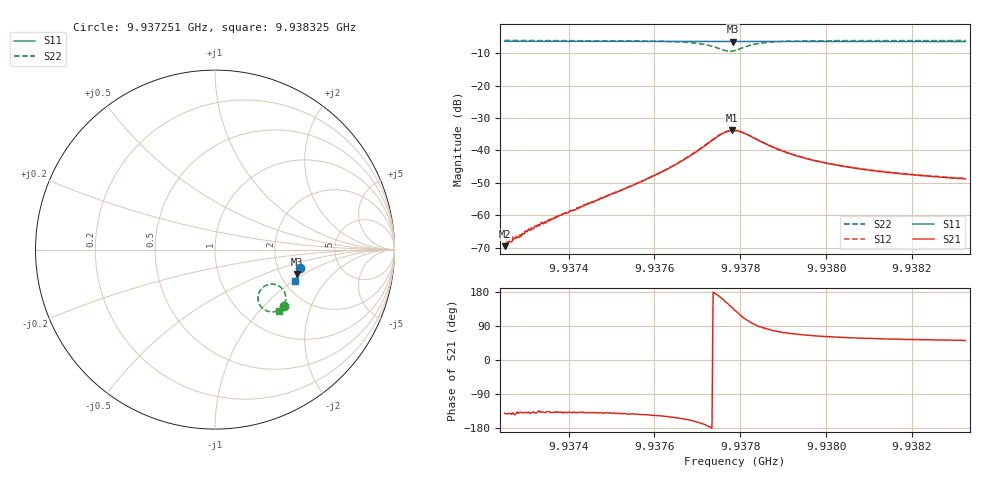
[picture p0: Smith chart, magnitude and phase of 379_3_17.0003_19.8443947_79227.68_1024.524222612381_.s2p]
#  HZ  S  RI  R  50.00
! Rohde & Schwarz Vector Network Analyzer
! Rohde-Schwarz,ZNB20-2Port,1311601062101988,3.16
! Created: UTC 3/20/2024, 11:09:04 PM
! freq[Hz]  re:S11  im:S11  re:S21  im:S21  re:S12  im:S12  re:S22  im:S22
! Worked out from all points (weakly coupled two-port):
!   401 points, 9.937251 GHz to 9.938325 GHz, reference 50 ohm
!   highest |S21| = -33.86 dB at 9.93778 GHz (marker M1); lowest = -69.6 dB at 9.937251 GHz (marker M2)
!   lowest |S11| = -6.4 dB at 9.937782 GHz (marker M3), VSWR 2.84, Z = 123 - j44.4 ohm
!   |S11| at or under -10 dB: nowhere
!   |S22| runs from -9.4 to -6.1 dB; largest |S21 - S12| = 0.00088
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9.9372506e9  0.4722 -0.1051  -0.000257 -0.00021  -0.000286 -0.000203  0.3871 -0.3134
9.9372614e9  0.472 -0.1057  -0.000316 -0.000251  -0.000324 -0.000219  0.3866 -0.3141
9.9372748e9  0.4717 -0.1066  -0.000357 -0.000254  -0.000329 -0.000283  0.3855 -0.3151
9.9372855e9  0.4715 -0.1073  -0.000339 -0.000306  -0.000372 -0.000328  0.3849 -0.3158
9.9373043e9  0.4711 -0.1086  -0.000436 -0.000366  -0.000444 -0.000378  0.3833 -0.3171
9.9373312e9  0.4706 -0.1104  -0.000472 -0.000491  -0.000525 -0.000466  0.3812 -0.3193
9.9374305e9  0.4684 -0.1171  -0.000993 -0.000912  -0.00106 -0.000922  0.3722 -0.3268
9.9375379e9  0.466 -0.1241  -0.00213 -0.00161  -0.00216 -0.00165  0.3574 -0.3363
9.9376104e9  0.4644 -0.1292  -0.00372 -0.0024  -0.0038 -0.00237  0.3403 -0.3437
9.9376668e9  0.4628 -0.133  -0.00641 -0.00296  -0.00656 -0.00292  0.3156 -0.347
9.9377179e9  0.461 -0.1365  -0.0117 -0.00198  -0.012 -0.00166  0.2727 -0.3333
9.9377528e9  0.4594 -0.1379  -0.0168 0.00409  -0.0171 0.00448  0.2402 -0.2801
9.9377796e9  0.4588 -0.1386  -0.0154 0.0132  -0.0151 0.0138  0.2646 -0.2124
9.9377823e9  0.4586 -0.1386  -0.0146 0.014  -0.0144 0.0146  0.271 -0.2073
9.9377877e9  0.4588 -0.1389  -0.013 0.0152  -0.013 0.0158  0.2844 -0.1992
9.9378092e9  0.459 -0.1398  -0.00635 0.0172  -0.00584 0.0175  0.3394 -0.1957
9.9378441e9  0.459 -0.1422  0.000515 0.0141  0.000813 0.0142  0.3845 -0.2321
9.9379058e9  0.4578 -0.1469  0.00295 0.00892  0.00311 0.00897  0.3941 -0.279
9.9379676e9  0.4565 -0.151  0.00306 0.00638  0.00323 0.00636  0.3885 -0.3014
9.9380508e9  0.4544 -0.1567  0.00286 0.00472  0.00295 0.00472  0.3803 -0.3178
9.9381475e9  0.4517 -0.163  0.00259 0.00376  0.00265 0.00373  0.3716 -0.3295
9.9383247e9  0.4468 -0.1743  0.00226 0.00285  0.00233 0.00284  0.3588 -0.344
